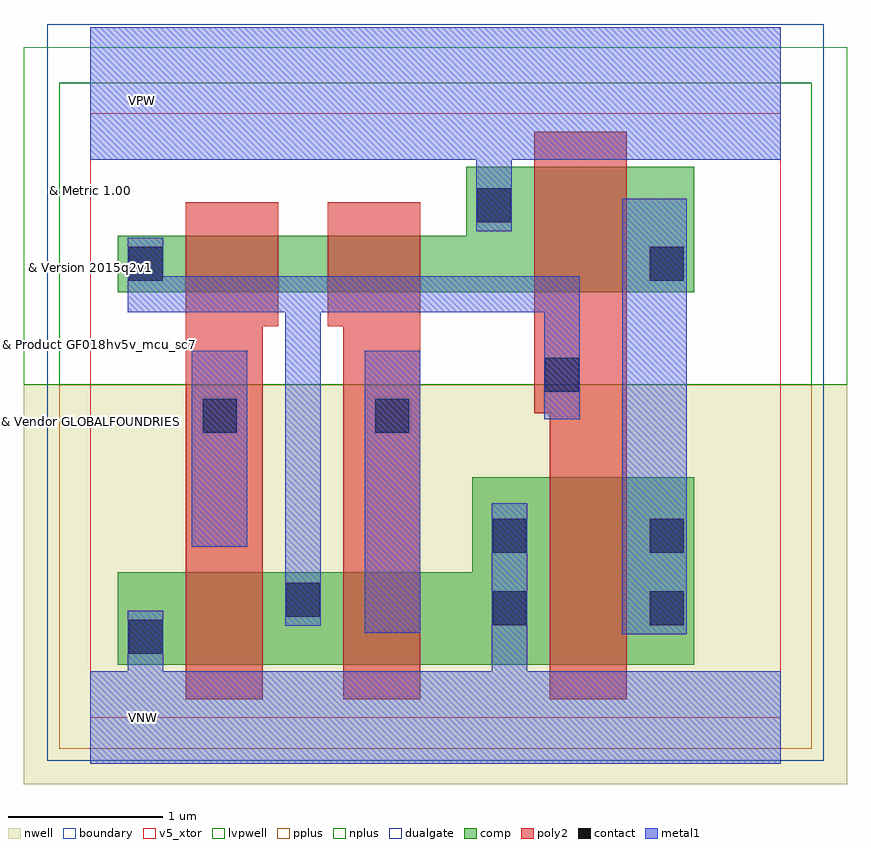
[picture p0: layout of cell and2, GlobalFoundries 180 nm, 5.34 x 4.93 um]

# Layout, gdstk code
import gdstk
lib = gdstk.Library(unit=1e-6, precision=1e-09)
def R(c, l, rs):  # rectangles x0, y0, x1, y1
    for r in rs: c.add(gdstk.rectangle(r[:2], r[2:], *l))
def P(c, l, *ps):  # polygons
    for p in ps: c.add(gdstk.Polygon(p, *l))
boundary = (0, 0)
nwell = (21, 0)
comp = (22, 0)
poly2 = (30, 0)
pplus = (31, 0)
nplus = (32, 0)
contact = (33, 0)
metal1 = (34, 0)
dualgate = (55, 0)
v5_xtor = (112, 1)
lvpwell = (204, 0)

and2 = lib.new_cell('and2')
R(and2, boundary, [(16.65,1.915,21.13,5.835)])
R(and2, nwell, [(16.22,1.485,21.56,4.075)])
P(and2, comp, [(16.83,4.675),(16.83,5.04),(19.09,5.04),(19.09,5.49),(20.57,5.49),(20.57,4.675)],
  [(16.83,2.26),(16.83,2.86),(19.13,2.86),(19.13,3.475),(20.57,3.475),(20.57,2.26)])
P(and2, poly2, [(17.27,2.035),(17.27,5.26),(17.87,5.26),(17.87,4.455),(17.77,4.455),(17.77,2.035)],
  [(18.29,2.035),(18.29,4.455),(18.19,4.455),(18.19,5.26),(18.79,5.26),(18.79,2.035)],
  [(19.63,2.035),(19.63,3.89),(19.53,3.89),(19.53,5.715),(20.13,5.715),(20.13,2.035)])
R(and2, pplus, [(16.45,1.715,21.33,4.075)])
R(and2, nplus, [(16.45,4.075,21.33,6.035)])
R(and2, contact, [(16.9,2.33,17.12,2.55), (19.26,2.515,19.48,2.735), (20.28,2.515,20.5,2.735), (17.92,2.57,18.14,2.79), (19.26,2.985,19.48,3.205), (20.28,2.985,20.5,3.205), (17.38,3.765,17.6,3.985), (18.5,3.765,18.72,3.985), (19.6,4.03,19.82,4.25), (16.9,4.75,17.12,4.97), (20.28,4.75,20.5,4.97), (19.16,5.13,19.38,5.35)])
R(and2, metal1, [(20.1,2.455,20.52,5.28), (18.43,2.465,18.79,4.295), (17.31,3.025,17.67,4.295)])
P(and2, metal1, [(19.155,5.07),(19.155,5.535),(16.65,5.535),(16.65,6.395),(21.13,6.395),(21.13,5.535),(19.385,5.535),(19.385,5.07)],
  [(17.915,2.51),(17.915,4.545),(16.895,4.545),(16.895,5.03),(17.125,5.03),(17.125,4.78),(19.825,4.78),(19.825,3.85),(19.595,3.85),(19.595,4.545),(18.145,4.545),(18.145,2.51)],
  [(16.65,1.615),(16.65,2.215),(16.895,2.215),(16.895,2.61),(17.125,2.61),(17.125,2.215),(19.255,2.215),(19.255,3.305),(19.485,3.305),(19.485,2.215),(21.13,2.215),(21.13,1.615)])
R(and2, dualgate, [(16.37,1.635,21.41,6.415)])
R(and2, v5_xtor, [(16.65,1.915,21.13,5.835)])
R(and2, lvpwell, [(16.22,4.075,21.56,6.265)])
and2.add(gdstk.Label('& Vendor GLOBALFOUNDRIES', (16.65,3.835), layer=63, texttype=63))
and2.add(gdstk.Label('& Product GF018hv5v_mcu_sc7', (16.65,4.335), layer=63, texttype=63))
and2.add(gdstk.Label('& Version 2015q2v1', (16.65,4.835), layer=63, texttype=63))
and2.add(gdstk.Label('& Metric 1.00', (16.65,5.335), layer=63, texttype=63))
and2.add(gdstk.Label('VNW', (16.995,1.915), layer=21, texttype=10))
and2.add(gdstk.Label('VPW', (16.99,5.92), layer=204, texttype=10))

lib.write_gds('and2.gds')
